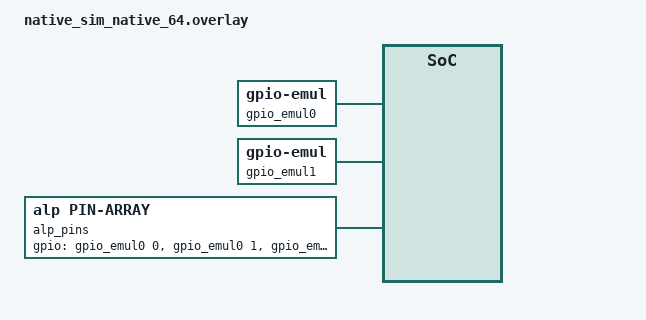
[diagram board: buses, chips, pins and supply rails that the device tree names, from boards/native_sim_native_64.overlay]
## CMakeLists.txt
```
# SPDX-License-Identifier: Apache-2.0

cmake_minimum_required(VERSION 3.20)

# --------------------------------------------------------------------
# board.yaml -> build/generated/alp.conf at configure time.
# --------------------------------------------------------------------
#
# Customers who copy this example out of the SDK tree point the
# ALP_SDK_ROOT env var at their checkout; in-tree we resolve it as
# the example's grandparent directory.

if(DEFINED ENV{ALP_SDK_ROOT})
    set(ALP_SDK_ROOT $ENV{ALP_SDK_ROOT})
else()
    get_filename_component(ALP_SDK_ROOT ${CMAKE_CURRENT_SOURCE_DIR}/../../.. ABSOLUTE)
endif()

find_package(Python3 REQUIRED COMPONENTS Interpreter)

set(_alp_generated ${CMAKE_BINARY_DIR}/generated/alp.conf)
execute_process(
    COMMAND ${Python3_EXECUTABLE} ${ALP_SDK_ROOT}/scripts/alp_project.py
            --input ${CMAKE_CURRENT_SOURCE_DIR}/board.yaml
            --emit zephyr-conf --core m55_hp
            --output ${_alp_generated}
    RESULT_VARIABLE _alp_rv
    OUTPUT_VARIABLE _alp_stdout
    ERROR_VARIABLE  _alp_stderr
)
if(NOT _alp_rv EQUAL 0)
    message(FATAL_ERROR
        "alp_project.py failed (rv=${_alp_rv}); "
        "check ${CMAKE_CURRENT_SOURCE_DIR}/board.yaml.\n"
        "stderr: ${_alp_stderr}")
endif()

# Layer the generated CONFIG_* lines over prj.conf via Zephyr's
# EXTRA_CONF_FILE mechanism.  Must be set before find_package(Zephyr).
# `rsource` is NOT valid in .conf files (it is a Kconfig-source
# directive only), which is why prj.conf can't pull the generated
# fragment in itself.
list(APPEND EXTRA_CONF_FILE ${_alp_generated})

find_package(Zephyr REQUIRED HINTS $ENV{ZEPHYR_BASE})
project(gpio_button_led LANGUAGES C)

target_sources(app PRIVATE src/main.c)
```

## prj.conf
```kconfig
# SPDX-License-Identifier: Apache-2.0
#
# Intentionally empty.  Every CONFIG_* this app needs is derived
# from board.yaml by `tan build` and layered in as
# `EXTRA_CONF_FILE`
# (scripts/gen_example_alp_conf.py) -- the board.yaml is the
# single source of truth.  If you want a hand-set override, add a
# new prj-override.conf and `list(APPEND EXTRA_CONF_FILE ...)` it.
```

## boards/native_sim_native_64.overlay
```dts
/*
 * Copyright 2026 Alp Lab AB
 * SPDX-License-Identifier: Apache-2.0
 *
 * Host-emulated alp,pin-array for gpio-button-led under native_sim.
 *
 * The array is POSITIONAL: alp_z_gpio_resolve(pin_id) indexes it by
 * the E1M GPIO index, so entry N must be E1M pad N in the e1m_pinout.h
 * canonical order (IO0..IO25 = 0..25, PWM0..PWM7 = 26..33, ...).  This
 * overlay covers indices 0..29 -- enough for the two pads this demo
 * uses:
 *   - index  4 = ALP_E1M_GPIO_IO4   -> the encoder push switch (button)
 *   - index 26 = ALP_E1M_GPIO_PWM0  -> the RGB-red pad, claimed as GPIO
 *     (bench-measured 2026-07-28; see metadata/boards/e1m-evk.yaml)
 * The PWM0 pad as a plain GPIO is exactly the e1m-spec "GPIO secondary"
 * capability the example demonstrates.
 *
 * (gpio-emul controllers are limited to 32 pins, so a real 52-slot
 * board file would span two controllers; native_sim only needs the
 * range the demo touches.)
 */

#include <zephyr/dt-bindings/gpio/gpio.h>

/ {
    gpio_emul0: gpio_emul0 {
        compatible = "zephyr,gpio-emul";
        status = "okay";
        gpio-controller;
        rising-edge;
        falling-edge;
        #gpio-cells = <2>;
        ngpios = <32>;
    };

    /* Second controller: a zephyr,gpio-emul is capped at 32 pins and the
     * E1M-X EVK's LED sits at pin id 41 (ALP_E1M_X_GPIO_PWM5). */
    gpio_emul1: gpio_emul1 {
        compatible = "zephyr,gpio-emul";
        status = "okay";
        gpio-controller;
        rising-edge;
        falling-edge;
        #gpio-cells = <2>;
        ngpios = <32>;
    };

    alp_pins: alp-pins {
        compatible = "alp,pin-array";
        gpios = <&gpio_emul0  0 GPIO_ACTIVE_HIGH>,   /* [ 0] ALP_E1M_GPIO_IO0  */
                <&gpio_emul0  1 GPIO_ACTIVE_HIGH>,   /* [ 1] ALP_E1M_GPIO_IO1  */
                <&gpio_emul0  2 GPIO_ACTIVE_HIGH>,   /* [ 2] ALP_E1M_GPIO_IO2  */
                <&gpio_emul0  3 GPIO_ACTIVE_HIGH>,   /* [ 3] ALP_E1M_GPIO_IO3  */
                <&gpio_emul0  4 (GPIO_ACTIVE_LOW | GPIO_PULL_UP)>,  /* [ 4] ALP_E1M_GPIO_IO4 -- button */
                <&gpio_emul0  5 GPIO_ACTIVE_HIGH>,   /* [ 5] ALP_E1M_GPIO_IO5  */
                <&gpio_emul0  6 GPIO_ACTIVE_HIGH>,   /* [ 6] ALP_E1M_GPIO_IO6  */
                <&gpio_emul0  7 GPIO_ACTIVE_HIGH>,   /* [ 7] ALP_E1M_GPIO_IO7  */
                <&gpio_emul0  8 GPIO_ACTIVE_HIGH>,   /* [ 8] ALP_E1M_GPIO_IO8  */
                <&gpio_emul0  9 GPIO_ACTIVE_HIGH>,   /* [ 9] ALP_E1M_GPIO_IO9  */
                <&gpio_emul0 10 GPIO_ACTIVE_HIGH>,   /* [10] ALP_E1M_GPIO_IO10 */
                <&gpio_emul0 11 GPIO_ACTIVE_HIGH>,   /* [11] ALP_E1M_GPIO_IO11 */
                <&gpio_emul0 12 GPIO_ACTIVE_HIGH>,   /* [12] ALP_E1M_GPIO_IO12 */
                <&gpio_emul0 13 GPIO_ACTIVE_HIGH>,   /* [13] ALP_E1M_GPIO_IO13 */
                <&gpio_emul0 14 GPIO_ACTIVE_HIGH>,   /* [14] ALP_E1M_GPIO_IO14 */
                <&gpio_emul0 15 GPIO_ACTIVE_HIGH>,   /* [15] ALP_E1M_GPIO_IO15 */
                <&gpio_emul0 16 GPIO_ACTIVE_HIGH>,   /* [16] ALP_E1M_GPIO_IO16 */
                <&gpio_emul0 17 GPIO_ACTIVE_HIGH>,   /* [17] ALP_E1M_GPIO_IO17 */
                <&gpio_emul0 18 GPIO_ACTIVE_HIGH>,   /* [18] ALP_E1M_GPIO_IO18 */
                <&gpio_emul0 19 GPIO_ACTIVE_HIGH>,   /* [19] ALP_E1M_GPIO_IO19 */
                <&gpio_emul0 20 GPIO_ACTIVE_HIGH>,   /* [20] ALP_E1M_GPIO_IO20 */
                <&gpio_emul0 21 GPIO_ACTIVE_HIGH>,   /* [21] ALP_E1M_GPIO_IO21 */
                <&gpio_emul0 22 GPIO_ACTIVE_HIGH>,   /* [22] ALP_E1M_GPIO_IO22 */
                <&gpio_emul0 23 GPIO_ACTIVE_HIGH>,   /* [23] ALP_E1M_GPIO_IO23 */
                <&gpio_emul0 24 GPIO_ACTIVE_HIGH>,   /* [24] ALP_E1M_GPIO_IO24 */
                <&gpio_emul0 25 GPIO_ACTIVE_HIGH>,   /* [25] ALP_E1M_GPIO_IO25 */
                <&gpio_emul0 26 GPIO_ACTIVE_HIGH>,   /* [26] ALP_E1M_GPIO_PWM0 -- LED on E1M EVK (BOARD_PIN_LED_RED) */
                <&gpio_emul0 27 GPIO_ACTIVE_HIGH>,   /* [27] ALP_E1M_GPIO_PWM1 */
                <&gpio_emul0 28 GPIO_ACTIVE_HIGH>,   /* [28] ALP_E1M_GPIO_PWM2 */
                <&gpio_emul0 29 GPIO_ACTIVE_HIGH>,   /* [29] ALP_E1M_GPIO_PWM3 */
                <&gpio_emul0 30 GPIO_ACTIVE_HIGH>,   /* [30] ALP_E1M_GPIO_PWM4 */
                <&gpio_emul0 31 GPIO_ACTIVE_HIGH>,   /* [31] ALP_E1M_GPIO_PWM5 */
                /* The E1M-X EVK variant needs index 41
                 * (ALP_E1M_X_GPIO_PWM5, its BOARD_PIN_LED_RED); its button
                 * BOARD_PIN_ENCODER_SW is ALP_E1M_X_GPIO_IO28 = 28, already
                 * covered above.  A zephyr,gpio-emul tops out at 32 pins, so
                 * the range past 31 continues on a second controller.
                 * Without these the E1M-X variant's alp_button_led_init()
                 * returned status=-1 and the test still went GREEN, because
                 * the failure path printed the harness's "[gpio] done"
                 * marker -- fixed in src/main.c alongside this. */
                <&gpio_emul1  0 GPIO_ACTIVE_HIGH>,   /* [32] ALP_E1M_X_GPIO_IO32 */
                <&gpio_emul1  1 GPIO_ACTIVE_HIGH>,   /* [33] ALP_E1M_X_GPIO_IO33 */
                <&gpio_emul1  2 GPIO_ACTIVE_HIGH>,   /* [34] ALP_E1M_X_GPIO_IO34 */
                <&gpio_emul1  3 GPIO_ACTIVE_HIGH>,   /* [35] ALP_E1M_X_GPIO_IO35 */
                <&gpio_emul1  4 GPIO_ACTIVE_HIGH>,   /* [36] ALP_E1M_X_GPIO_PWM0 */
                <&gpio_emul1  5 GPIO_ACTIVE_HIGH>,   /* [37] ALP_E1M_X_GPIO_PWM1 */
                <&gpio_emul1  6 GPIO_ACTIVE_HIGH>,   /* [38] ALP_E1M_X_GPIO_PWM2 */
                <&gpio_emul1  7 GPIO_ACTIVE_HIGH>,   /* [39] ALP_E1M_X_GPIO_PWM3 */
                <&gpio_emul1  8 GPIO_ACTIVE_HIGH>,   /* [40] ALP_E1M_X_GPIO_PWM4 */
                <&gpio_emul1  9 GPIO_ACTIVE_HIGH>;   /* [41] ALP_E1M_X_GPIO_PWM5 -- LED on E1M-X EVK */
    };
};
```

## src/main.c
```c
/*
 * Copyright 2026 Alp Lab AB
 * SPDX-License-Identifier: Apache-2.0
 *
 * gpio-button-led -- read a button and toggle an LED, both as plain
 * GPIO, through the <alp/blocks/button_led.h> helper.
 *
 * This demo opens its pins by portable BOARD_* alias names from
 * <alp/board.h>: `BOARD_PIN_ENCODER_SW` (the user button) and
 * `BOARD_PIN_LED_RED` (the status LED).  The facade selects the active
 * board's generated routes header at compile time via ALP_BOARD_<SLUG>,
 * so the same source builds for both EVKs without changes.
 *
 * Per-board resolution:
 *   E1M EVK:
 *     BOARD_PIN_ENCODER_SW = EVK_PIN_ENCODER_SW  = ALP_E1M_GPIO_IO4
 *     BOARD_PIN_LED_RED    = EVK_PIN_LED_RED      = ALP_E1M_GPIO_PWM0
 *       (the RGB-red PWM pad claimed as a digital GPIO; the E1M EVK
 *       has no plain GPIO LED, so the LED rides a PWM pad as GPIO)
 *   E1M-X EVK:
 *     BOARD_PIN_ENCODER_SW = XEVK_PIN_ENCODER_SW = ALP_E1M_X_GPIO_IO28
 *     BOARD_PIN_LED_RED    = XEVK_PIN_LED_RED     = ALP_E1M_X_GPIO_PWM5
 *       (similarly the X EVK's RGB-red PWM pad driven as GPIO)
 *
 * native_sim wires a GPIO-emul controller in boards/, so the open /
 * configure / read / write path runs and the harness latches `done`.
 * On real hardware the demo keeps running after `done`: it blinks the
 * LED forever at a slow, visible 500 ms on / 500 ms off cadence so a
 * fresh-out-of-the-box board shows something happening at the bench.
 * That endless loop is skipped under native_sim (guarded on
 * CONFIG_BOARD_NATIVE_SIM in main()) so the twister harness still
 * gets a clean, prompt exit.
 */

#include <stdio.h>

#include "alp/peripheral.h"

#include "alp/blocks/button_led.h"
#include "alp/board.h"

int main(void)
{
	/* Bring up the SDK runtime before anything else -- thin today,
	 * but future backends rely on it (see <alp/peripheral.h>). */
	(void)alp_init();

	printf("[gpio] init button=BOARD_PIN_ENCODER_SW, led=BOARD_PIN_LED_RED\n");

	alp_button_led_t bl;
	alp_status_t     s = alp_button_led_init(&bl,
	                                         &(alp_button_led_config_t){
	                                             .button_pin_id     = BOARD_PIN_ENCODER_SW,
	                                             .led_pin_id        = BOARD_PIN_LED_RED,
	                                             .active_low_button = true,
	                                         });
	if (s != ALP_OK) {
		/* Deliberately NOT "[gpio] done": that string is the twister
		 * harness's success marker (testcase.yaml).  A failure path
		 * that still printed it would make the test pass while the
		 * button/LED never opened -- which is exactly the hole this
		 * example must not have. */
		printf("[gpio] failed: init status=%d\n", (int)s);
		return 1;
	}

	/* Quick lifecycle exercise: toggle 4 times and read the button
     * state once. */
	for (int i = 0; i < 4; i++) {
		bool on = (i & 1);
		s       = alp_button_led_set(&bl, on);
		if (s != ALP_OK) {
			printf("[gpio] failed: set status=%d\n", (int)s);
			alp_button_led_deinit(&bl);
			return 1;
		}
		printf("[gpio] led=%d status=%d\n", (int)on, (int)s);
		alp_delay_ms(50);
	}

	bool pressed = false;
	s            = alp_button_led_is_pressed(&bl, &pressed);
	if (s != ALP_OK) {
		printf("[gpio] failed: is_pressed status=%d\n", (int)s);
		alp_button_led_deinit(&bl);
		return 1;
	}
	printf("[gpio] is_pressed -> status=%d pressed=%d\n", (int)s, (int)pressed);

	printf("[gpio] done\n");

#ifdef CONFIG_BOARD_NATIVE_SIM
	/* native_sim: the twister harness only waits for the "done" line
	 * above and then tears the process down, so exit cleanly instead
	 * of falling into the endless blink below. */
	alp_button_led_deinit(&bl);
	return 0;
#else
	/* Real hardware: this is the "fresh customer sees a blinking LED"
     * acceptance target, so keep driving the pin forever after
     * "done".  Deliberately no deinit here -- deinit would leave the
     * LED off, and every iteration below still needs the handle.  Do
     * NOT delete this #ifdef to "simplify" an unconditional loop:
     * that would also hang under native_sim and break both twister
     * tests in testcase.yaml. */
	for (;;) {
		alp_button_led_set(&bl, true);
		alp_delay_ms(500);
		alp_button_led_set(&bl, false);
		alp_delay_ms(500);
	}
#endif
}
```
